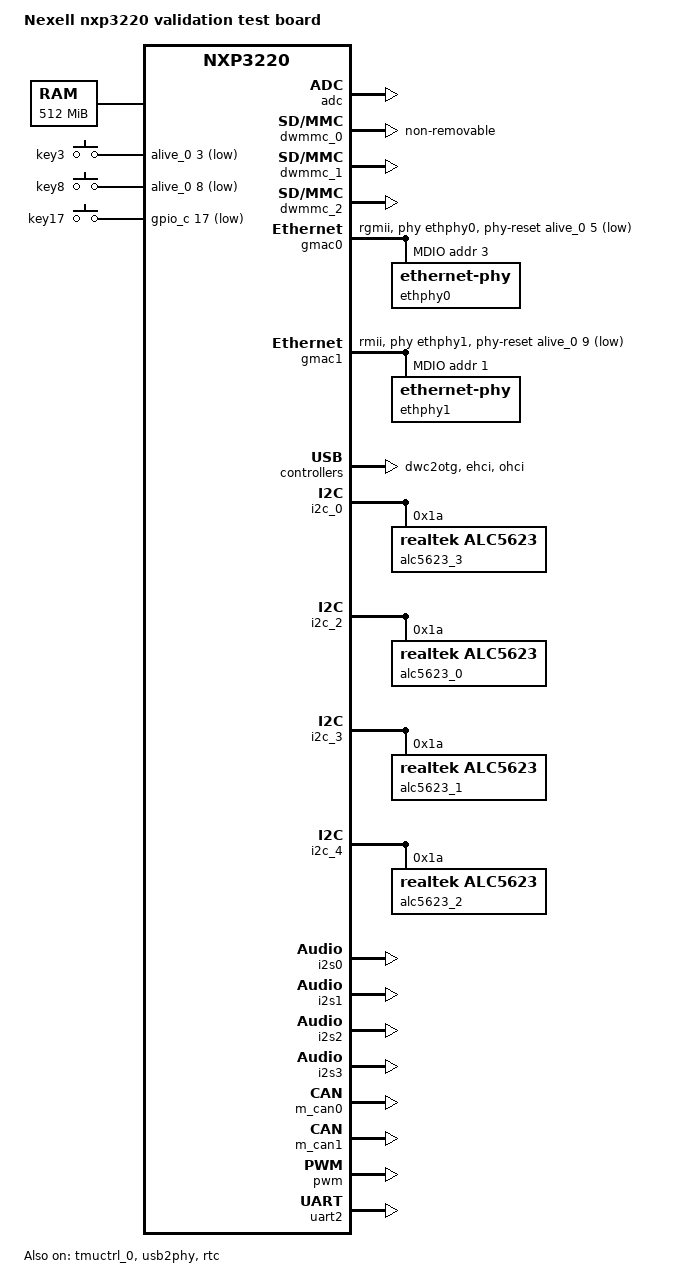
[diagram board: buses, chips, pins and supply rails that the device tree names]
// SPDX-License-Identifier: (GPL-2.0+ OR MIT)
/*
 * Copyright (C) 2018  Nexell Co., Ltd.
 * Author: JungHyun, Kim <jhkim@nexell.co.kr>
 */

/dts-v1/;
#include <dt-bindings/gpio/gpio.h>
#include <dt-bindings/input/input.h>
#include "nxp3220.dtsi"

/ {
	model = "Nexell nxp3220 validation test board";
	compatible = "nexell,nxp3220-vtk", "nexell,nxp3220";

	chosen {
		stdout-path = &uart2;
	};

	memory@40000000 {
		device_type = "memory";
		reg = <0x40000000 0x20000000>;
	};

	gpio_keys {
		compatible = "gpio-keys";
		#address-cells = <1>;
		#size-cells = <0>;
		pinctrl-names = "default";
		pinctrl-0 = <&key_3 &key_8 &key_17>;

		button@3 {
			label = "key3";
			gpios = <&alive_0 3 GPIO_ACTIVE_LOW>;
			linux,code = <KEY_3>;
			gpio-key,wakeup;
		};

		button@8 {
			label = "key8";
			gpios = <&alive_0 8 GPIO_ACTIVE_LOW>;
			linux,code = <KEY_8>;
			gpio-key,wakeup;
		};

		button@17 {
			label = "key17";
			gpios = <&gpio_c 17 GPIO_ACTIVE_LOW>;
			linux,code = <KEY_W>;
			gpio-key,wakeup;
		};
	};

	sound0: sound0 {
		compatible = "simple-audio-card";
		simple-audio-card,name = "nxp3220 Audio Card ALC5623";
		status = "okay";

		simple-audio-card,dai-link@0 {
			mclk-fs = <256>;
			format = "i2s";
			frame-master = <&sndcpu0>;
			bitclock-master = <&sndcpu0>;

			sndcpu0: cpu  {
				sound-dai = <&i2s0 0>;
			};

			sndcodec0: codec {
				sound-dai = <&alc5623_0>;
			};
		};
	};

	sound1: sound1 {
		compatible = "simple-audio-card";
		simple-audio-card,name = "nxp3220 Audio Card ALC5623";
		status = "okay";

		simple-audio-card,dai-link@0 {
			mclk-fs = <256>;
			format = "i2s";
			frame-master = <&sndcpu1>;
			bitclock-master = <&sndcpu1>;

			sndcpu1: cpu  {
				sound-dai = <&i2s1 0>;
			};

			sndcodec1: codec {
				sound-dai = <&alc5623_1>;
			};
		};
	};

	sound2: sound2 {
		compatible = "simple-audio-card";
		simple-audio-card,name = "nxp3220 Audio Card ALC5623";
		status = "okay";

		simple-audio-card,dai-link@0 {
			mclk-fs = <256>;
			format = "i2s";
			frame-master = <&sndcpu2>;
			bitclock-master = <&sndcpu2>;

			sndcpu2: cpu  {
				sound-dai = <&i2s2 0>;
			};

			sndcodec2: codec {
				sound-dai = <&alc5623_2>;
			};
		};
	};

	sound3: sound3 {
		compatible = "simple-audio-card";
		simple-audio-card,name = "nxp3220 Audio Card ALC5623";
		status = "okay";

		simple-audio-card,dai-link@0 {
			mclk-fs = <256>;
			format = "i2s";
			frame-master = <&sndcpu3>;
			bitclock-master = <&sndcpu3>;

			sndcpu3: cpu  {
				sound-dai = <&i2s3 0>;
			};

			sndcodec3: codec {
				sound-dai = <&alc5623_3>;
			};
		};
	};

	thermal-zones {
		cpu_thermal: cpu-thermal {
			thermal-sensors = <&tmuctrl_0>;
			polling-delay-passive = <1000>;
			polling-delay = <1000>;
			trips {
				cpu_alert0: cpu-alert-0 {
					temperature = <40000>;
					hysteresis = <10000>;
					type = "passive";
				};
				cpu_alert1: cpu-alert-1 {
					temperature = <50000>;
					hysteresis = <10000>;
					type = "passive";
				};
				cpu_alert2: cpu-alert-2 {
					temperature = <55000>;
					hysteresis = <10000>;
					type = "passive";
				};
				cpu-crit-0 {
					temperature = <65000>;
					hysteresis = <10000>;
					type = "critical";
				};
			};
		};
	};

};

&adc {
	status = "okay";
};

&dwmmc_0 {
	cap-mmc-highspeed;
	broken-cd;
	non-removable;
	nexell,drive_shift = <0x04>;
	nexell,sample_shift = <0x04>;
	card-detect-delay = <200>;
	disable-wp;
	status = "okay";
};

&dwmmc_1 {
	cap-sd-highspeed;
	broken-cd;
	nexell,drive_shift = <0x04>;
	nexell,sample_shift = <0x04>;
	card-detect-delay = <200>;
	disable-wp;
	status = "okay";
};

&dwmmc_2 {
	cap-mmc-highspeed;
	broken-cd;
	nexell,drive_shift = <0x04>;
	nexell,sample_shift = <0x04>;
	card-detect-delay = <200>;
	disable-wp;
	status = "okay";
};

&gmac0 {
	status = "okay";

	pinctrl-names = "default";
	pinctrl-0 = <&gmac0_pins>;
	phy-mode = "rgmii";
	phy-handle = <&ethphy0>;
	assigned-clocks = <&cmu CLK_GMAC_RGMII0_AXI>,
			  <&cmu CLK_GMAC_RGMII0_APB>,
			  <&cmu CLK_GMAC_RGMII0_PTP_REF>;
	assigned-clock-rates = <250000000>, <125000000>, <25000000>;

	phy-reset-gpios = <&alive_0 5 GPIO_ACTIVE_LOW>;
	phy-intr-gpios = <&alive_0 4 GPIO_ACTIVE_LOW>;
	phy-pme-gpios = <&alive_0 6 GPIO_ACTIVE_LOW>;

	mdio@3 {
		#address-cells = <1>;
		#size-cells = <0>;

		ethphy0: ethernet-phy@3 {
			reg = <3>;
		};
	};
};

&gmac1 {
	status = "okay";

	pinctrl-names = "default";
	pinctrl-0 = <&gmac1_pins>;
	phy-mode = "rmii";
	phy-handle = <&ethphy1>;
	assigned-clocks = <&cmu CLK_GMAC_RMII0_AXI>,
			  <&cmu CLK_GMAC_RMII0_APB>,
			  <&cmu CLK_GMAC_RMII0_PTP_REF>;
	assigned-clock-rates = <250000000>, <125000000>, <25000000>;

	phy-reset-gpios = <&alive_0 9 GPIO_ACTIVE_LOW>;
	phy-intr-gpios = <&alive_0 7 GPIO_ACTIVE_LOW>;

	mdio@1 {
		#address-cells = <1>;
		#size-cells = <0>;

		ethphy1: ethernet-phy@1 {
			reg = <1>;
		};
	};
};

&dwc2otg {
	status = "okay";
	pinctrl-0 = <&otg_vbus_en>;
	pinctrl-names = "default";
};

&ehci {
	status = "okay";
};

&ohci {
	status = "okay";
};

&i2c_0 {
	status = "okay";
	#address-cells = <1>;
	#size-cells = <0>;

	alc5623_3: alc5623@1a {
		#sound-dai-cells = <0>;
		compatible = "realtek,alc5623";
		reg = <0x1a>;
	};
};

&i2c_2 {
	status = "okay";
	#address-cells = <1>;
	#size-cells = <0>;

	alc5623_0: alc5623@1a {
		#sound-dai-cells = <0>;
		compatible = "realtek,alc5623";
		reg = <0x1a>;
	};
};

&i2c_3 {
	status = "okay";
	#address-cells = <1>;
	#size-cells = <0>;

	alc5623_1: alc5623@1a {
		#sound-dai-cells = <0>;
		compatible = "realtek,alc5623";
		reg = <0x1a>;
	};
};

&i2c_4 {
	status = "okay";
	#address-cells = <1>;
	#size-cells = <0>;

	alc5623_2: alc5623@1a {
		#sound-dai-cells = <0>;
		compatible = "realtek,alc5623";
		reg = <0x1a>;
	};
};

&i2s0 {
	frame-bit = <32>;
	sample-rate = <48000>;
	assigned-clocks = <&cmu CLK_I2S0_CORE>;
	assigned-clock-rates = <12288000>;
	status = "okay";
};

&i2s1 {
	frame-bit = <32>;
	sample-rate = <48000>;
	assigned-clocks = <&cmu CLK_I2S1_CORE>;
	assigned-clock-rates = <12288000>;
	status = "okay";
};

&i2s2 {
	frame-bit = <32>;
	sample-rate = <48000>;
	assigned-clocks = <&cmu CLK_I2S2_CORE>;
	assigned-clock-rates = <12288000>;
	status = "okay";
};

&i2s3 {
	frame-bit = <32>;
	sample-rate = <48000>;
	assigned-clocks = <&cmu CLK_I2S3_CORE>;
	assigned-clock-rates = <12288000>;
	status = "okay";
};

&m_can0 {
	assigned-clocks = <&cmu CLK_CAN0_CORE>;
	assigned-clock-rates = <10000000>;
	status = "okay";
};

&m_can1 {
	assigned-clocks = <&cmu CLK_CAN1_CORE>;
	assigned-clock-rates = <10000000>;
	status = "okay";
};

&pinctrl_0 {
	key_3: key@3 {
		nexell,pins = "alive-3";
		nexell,pin-function = <NX_PIN_FUNC0>;
		nexell,pin-pull = <NX_PIN_PULL_UP>;
		nexell,pin-strength = <NX_PIN_STR0>;
	};

	key_8: key@8 {
		nexell,pins = "alive-8";
		nexell,pin-function = <NX_PIN_FUNC0>;
		nexell,pin-pull = <NX_PIN_PULL_UP>;
		nexell,pin-strength = <NX_PIN_STR0>;
	};

	key_17: key@17 {
		nexell,pins = "gpioc-17";
		nexell,pin-function = <NX_PIN_FUNC0>;
		nexell,pin-pull = <NX_PIN_PULL_UP>;
		nexell,pin-strength = <NX_PIN_STR0>;
	};
};

&pwm {
	status = "okay";
	assigned-clocks = <&cmu CLK_PWM0_APB>;
	assigned-clock-rates = <166000000>;
};

&tmuctrl_0 {
	status = "okay";
};

&uart2 {
	status = "okay";
};

&usb2phy {
	status = "okay";
};

&rtc {
	status = "okay";
};
